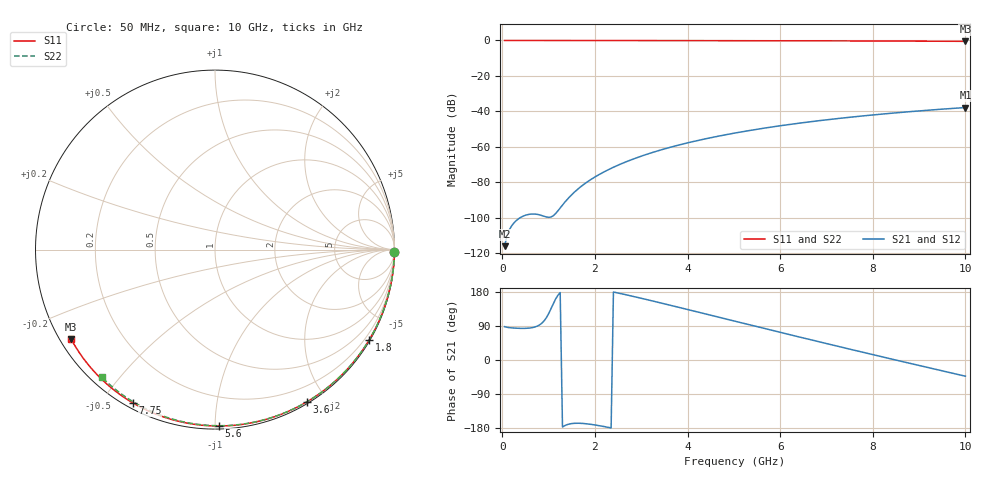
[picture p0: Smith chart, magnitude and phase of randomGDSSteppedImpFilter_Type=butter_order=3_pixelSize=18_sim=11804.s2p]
! freq	dB(S11)	phase(S11)	dB(S12)	phase(S12)
!  dB(S21)	phase(S21)	dB(S22)	phase(S22)
!S-par simulation data
#  GHz  S  DB  R 50
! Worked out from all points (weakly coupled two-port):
!   200 points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, 50 MHz to 10 GHz, reference 50 ohm
!   highest |S21| = -37.87 dB at 10 GHz (marker M1); lowest = -116.2 dB at 50 MHz (marker M2)
!   lowest |S11| = -0.5 dB at 10 GHz (marker M3), VSWR 34.77, Z = 1.56 - j14.3 ohm
!   |S11| at or under -10 dB: nowhere
!   |S22| runs from -0.4 to 0.0 dB; largest |S21 - S12| = 0
!   S11 on the Smith chart (normalised r, x): 50 MHz: open; 1.8 GHz: 0.03, -3.70; 3.6 GHz: 0.02, -1.77; 5.6 GHz: 0.02, -1.02; 7.75 GHz: 0.02, -0.60; 10 GHz: 0.03, -0.29
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0.05  -0.00 -0.9  -116.16 87.9  -116.16 87.9  -0.00 -0.8
0.45  -0.01 -7.7  -99.20 83.4  -99.20 83.4  -0.01 -6.8
0.9  -0.02 -15.3  -99.25 102.9  -99.25 102.9  -0.02 -13.6
1.75  -0.04 -29.4  -81.47 -167.5  -81.47 -167.5  -0.03 -26.2
1.8  -0.04 -30.3  -80.51 -168.1  -80.51 -168.1  -0.03 -26.9
1.85  -0.04 -31.1  -79.60 -168.8  -79.60 -168.8  -0.04 -27.7
2.05  -0.04 -34.4  -76.32 -172.4  -76.32 -172.4  -0.04 -30.6
2.2  -0.05 -36.8  -74.17 -175.7  -74.17 -175.7  -0.04 -32.8
2.55  -0.05 -42.5  -69.85 175.5  -69.85 175.5  -0.05 -37.8
2.95  -0.06 -48.9  -65.79 164.3  -65.79 164.3  -0.06 -43.6
3.4  -0.07 -55.9  -62.00 151.2  -62.00 151.2  -0.07 -49.9
3.6  -0.08 -59.0  -60.51 145.3  -60.51 145.3  -0.07 -52.7
4.3  -0.10 -69.7  -56.03 124.3  -56.03 124.3  -0.09 -62.3
5.05  -0.12 -80.8  -52.14 101.6  -52.14 101.6  -0.11 -72.2
5.6  -0.15 -88.7  -49.74 85.0  -49.74 85.0  -0.13 -79.3
6.15  -0.17 -96.5  -47.62 68.6  -47.62 68.6  -0.15 -86.3
6.7  -0.20 -104.1  -45.75 52.2  -45.75 52.2  -0.18 -93.1
7.2  -0.23 -110.9  -44.22 37.5  -44.22 37.5  -0.21 -99.1
7.75  -0.27 -118.2  -42.70 21.4  -42.70 21.4  -0.24 -105.7
8.35  -0.32 -126.2  -41.22 4.1  -41.22 4.1  -0.29 -112.7
9.2  -0.41 -137.4  -39.37 -20.1  -39.37 -20.1  -0.36 -122.4
10  -0.50 -148.1  -37.87 -42.7  -37.87 -42.7  -0.44 -131.5
